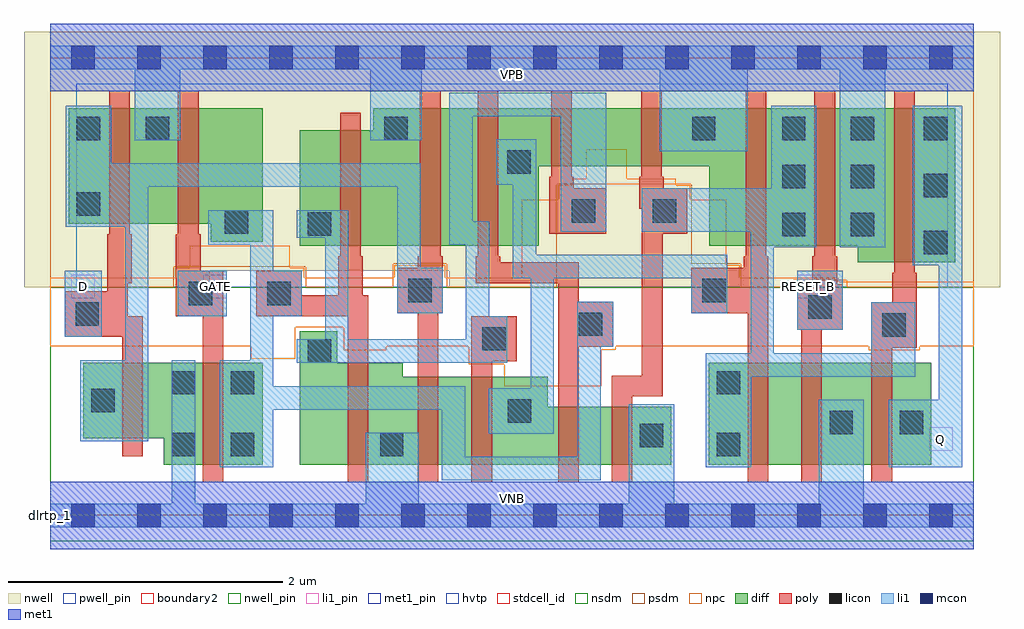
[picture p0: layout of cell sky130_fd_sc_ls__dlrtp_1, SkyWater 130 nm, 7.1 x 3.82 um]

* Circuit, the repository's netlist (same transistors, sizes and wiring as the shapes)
* Copyright 2020 The SkyWater PDK Authors
*
* Licensed under the Apache License, Version 2.0 (the "License");
* you may not use this file except in compliance with the License.
* You may obtain a copy of the License at
*
*     https://www.apache.org/licenses/LICENSE-2.0
*
* Unless required by applicable law or agreed to in writing, software
* distributed under the License is distributed on an "AS IS" BASIS,
* WITHOUT WARRANTIES OR CONDITIONS OF ANY KIND, either express or implied.
* See the License for the specific language governing permissions and
* limitations under the License.
*
* SPDX-License-Identifier: Apache-2.0

.SUBCKT sky130_fd_sc_ls__dlrtp_1 D GATE RESET_B VGND VNB VPB VPWR Q
*.PININFO D:I GATE:I RESET_B:I VGND:I VNB:I VPB:I VPWR:I Q:O
MI635 clkpos clkneg VPWR VPB sky130_fd_pr__pfet_01v8_hvt m=1 w=0.84U l=0.15U mult=1
+ sa=0.265 sb=0.265 sd=0.28 area=0.063 perim=1.14
MI17 M0 clkneg net54 VPB sky130_fd_pr__pfet_01v8_hvt m=1 w=1.0U l=0.15U mult=1
+ sa=0.265 sb=0.265 sd=0.28 area=0.063 perim=1.14
MI650 Q m1 VPWR VPB sky130_fd_pr__pfet_01v8_hvt m=1 w=1.12U l=0.15U mult=1 sa=0.265
+ sb=0.265 sd=0.28 area=0.063 perim=1.14
MI633 clkneg GATE VPWR VPB sky130_fd_pr__pfet_01v8_hvt m=1 w=0.84U l=0.15U mult=1
+ sa=0.265 sb=0.265 sd=0.28 area=0.063 perim=1.14
MI658 m1 RESET_B VPWR VPB sky130_fd_pr__pfet_01v8_hvt m=1 w=1.0U l=0.15U mult=1
+ sa=0.265 sb=0.265 sd=0.28 area=0.063 perim=1.14
MI18 net54 db VPWR VPB sky130_fd_pr__pfet_01v8_hvt m=1 w=1.0U l=0.15U mult=1 sa=0.265
+ sb=0.265 sd=0.28 area=0.063 perim=1.14
MI653 net50 m1 VPWR VPB sky130_fd_pr__pfet_01v8_hvt m=1 w=0.42U l=0.15U mult=1
+ sa=0.265 sb=0.265 sd=0.28 area=0.063 perim=1.14
MI651 M0 clkpos net50 VPB sky130_fd_pr__pfet_01v8_hvt m=1 w=0.42U l=0.15U mult=1
+ sa=0.265 sb=0.265 sd=0.28 area=0.063 perim=1.14
MI655 m1 M0 VPWR VPB sky130_fd_pr__pfet_01v8_hvt m=1 w=1.0U l=0.15U mult=1 sa=0.265
+ sb=0.265 sd=0.28 area=0.063 perim=1.14
MI638 db D VPWR VPB sky130_fd_pr__pfet_01v8_hvt m=1 w=0.84U l=0.15U mult=1 sa=0.265
+ sb=0.265 sd=0.28 area=0.063 perim=1.14
MI634 clkneg GATE VGND VNB sky130_fd_pr__nfet_01v8 m=1 w=0.74U l=0.15U mult=1 sa=0.265
+ sb=0.265 sd=0.28 area=0.063 perim=1.14
MI649 Q m1 VGND VNB sky130_fd_pr__nfet_01v8 m=1 w=0.74U l=0.15U mult=1 sa=0.265
+ sb=0.265 sd=0.28 area=0.063 perim=1.14
MI657 net93 RESET_B VGND VNB sky130_fd_pr__nfet_01v8 m=1 w=0.74U l=0.15U mult=1
+ sa=0.265 sb=0.265 sd=0.28 area=0.063 perim=1.14
MI652 M0 clkneg net101 VNB sky130_fd_pr__nfet_01v8 m=1 w=0.42U l=0.15U mult=1 sa=0.265
+ sb=0.265 sd=0.28 area=0.063 perim=1.14
MI654 net101 m1 VGND VNB sky130_fd_pr__nfet_01v8 m=1 w=0.42U l=0.15U mult=1 sa=0.265
+ sb=0.265 sd=0.28 area=0.063 perim=1.14
MI656 m1 M0 net93 VNB sky130_fd_pr__nfet_01v8 m=1 w=0.74U l=0.15U mult=1 sa=0.265
+ sb=0.265 sd=0.28 area=0.063 perim=1.14
MI636 clkpos clkneg VGND VNB sky130_fd_pr__nfet_01v8 m=1 w=0.74U l=0.15U mult=1
+ sa=0.265 sb=0.265 sd=0.28 area=0.063 perim=1.14
MI637 db D VGND VNB sky130_fd_pr__nfet_01v8 m=1 w=0.55U l=0.15U mult=1 sa=0.265
+ sb=0.265 sd=0.28 area=0.063 perim=1.14
MI19 M0 clkpos net81 VNB sky130_fd_pr__nfet_01v8 m=1 w=0.64U l=0.15U mult=1 sa=0.265
+ sb=0.265 sd=0.28 area=0.063 perim=1.14
MI20 net81 db VGND VNB sky130_fd_pr__nfet_01v8 m=1 w=0.64U l=0.15U mult=1 sa=0.265
+ sb=0.265 sd=0.28 area=0.063 perim=1.14
.ENDS sky130_fd_sc_ls__dlrtp_1

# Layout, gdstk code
import gdstk
lib = gdstk.Library(unit=1e-6, precision=1e-09)
def R(c, l, rs):  # rectangles x0, y0, x1, y1
    for r in rs: c.add(gdstk.rectangle(r[:2], r[2:], *l))
def A(c, l, x, y, w, h, nx, ny, dx, dy):  # array of equal rectangles
    R(c, l, [(x+i*dx, y+j*dy, x+i*dx+w, y+j*dy+h) for i in range(nx) for j in range(ny)])
def P(c, l, *ps):  # polygons
    for p in ps: c.add(gdstk.Polygon(p, *l))
nwell_pin = (64, 16)
nwell = (64, 20)
diff = (65, 20)
poly = (66, 20)
licon = (66, 44)
li1_pin = (67, 16)
li1 = (67, 20)
mcon = (67, 44)
met1_pin = (68, 16)
met1 = (68, 20)
hvtp = (78, 44)
stdcell_id = (81, 4)
nsdm = (93, 44)
psdm = (94, 20)
npc = (95, 20)
pwell_pin = (122, 16)
boundary2 = (236, 0)

sky130_fd_sc_ls__dlrtp_1 = lib.new_cell('sky130_fd_sc_ls__dlrtp_1')
R(sky130_fd_sc_ls__dlrtp_1, nwell_pin, [(0,3.085,6.72,3.33)])
P(sky130_fd_sc_ls__dlrtp_1, nwell, [(6.91,3.52),(-0.19,3.52),(-0.19,1.66),(1.16,1.66),(1.16,1.78),(2.905,1.78),(2.905,1.66),(6.91,1.66)])
R(sky130_fd_sc_ls__dlrtp_1, diff, [(4.79,0.37,6.41,1.11)])
P(sky130_fd_sc_ls__dlrtp_1, diff, [(1.545,2.96),(0.135,2.96),(0.135,2.12),(1.17,2.12),(1.17,1.99),(1.545,1.99)],
  [(1.545,1.11),(0.24,1.11),(0.24,0.56),(0.825,0.56),(0.825,0.37),(1.545,0.37)],
  [(4.52,0.79),(3.62,0.79),(3.62,1.01),(2.565,1.01),(2.565,1.11),(2.09,1.11),(2.09,1.34),(1.815,1.34),(1.815,0.37),(4.52,0.37)],
  [(6.585,2.96),(2.35,2.96),(2.35,2.8),(1.815,2.8),(1.815,1.96),(3.555,1.96),(3.555,2.54),(4.795,2.54),(4.795,1.96),(5.875,1.96),(5.875,1.84),(6.585,1.84)])
P(sky130_fd_sc_ls__dlrtp_1, poly, [(6.305,1.765),(6.29,1.765),(6.29,3.09),(6.14,3.09),(6.14,1.765),(6.125,1.765),(6.125,1.55),(5.975,1.55),(5.975,0.24),(6.125,0.24),(6.125,1.22),(6.305,1.22)],
  [(5.765,1.68),(5.725,1.68),(5.725,1.885),(5.71,1.885),(5.71,3.09),(5.56,3.09),(5.56,1.885),(5.545,1.885),(5.545,1.68),(5.435,1.68),(5.435,1.35),(5.465,1.35),(5.465,0.24),(5.615,0.24),(5.615,1.35),(5.765,1.35)],
  [(5.225,1.885),(5.21,1.885),(5.21,3.09),(5.06,3.09),(5.06,1.885),(5.045,1.885),(5.045,1.8),(4.665,1.8),(4.665,1.47),(5.075,1.47),(5.075,0.24),(5.225,0.24)],
  [(4.635,2.38),(4.465,2.38),(4.465,2.465),(4.45,2.465),(4.45,3.09),(4.3,3.09),(4.3,2.465),(4.285,2.465),(4.285,2.23),(4.305,2.23),(4.305,1.015),(4.085,1.015),(4.085,0.24),(4.235,0.24),(4.235,0.865),(4.455,0.865),(4.455,2.05),(4.635,2.05)],
  [(4.095,1.555),(3.845,1.555),(3.845,1.84),(3.275,1.84),(3.275,1.885),(3.26,1.885),(3.26,3.09),(3.11,3.09),(3.11,1.885),(3.095,1.885),(3.095,1.69),(3.695,1.69),(3.695,0.24),(3.845,0.24),(3.845,1.225),(4.095,1.225)],
  [(4.045,2.38),(3.81,2.38),(3.81,2.465),(3.795,2.465),(3.795,3.09),(3.645,3.09),(3.645,2.465),(3.63,2.465),(3.63,2.05),(4.045,2.05)],
  [(3.395,1.45),(3.065,1.45),(3.065,0.24),(3.215,0.24),(3.215,1.12),(3.395,1.12)],
  [(2.855,1.885),(2.84,1.885),(2.84,3.09),(2.69,3.09),(2.69,1.885),(2.675,1.885),(2.675,1.8),(2.525,1.8),(2.525,1.47),(2.675,1.47),(2.675,0.24),(2.825,0.24),(2.825,1.47),(2.855,1.47)],
  [(2.315,1.6),(2.275,1.6),(2.275,1.885),(2.26,1.885),(2.26,2.93),(2.11,2.93),(2.11,1.885),(2.095,1.885),(2.095,1.6),(1.83,1.6),(1.83,1.78),(1.5,1.78),(1.5,1.45),(2.165,1.45),(2.165,0.24),(2.315,0.24)],
  [(1.26,1.78),(1.095,1.78),(1.095,2.045),(1.08,2.045),(1.08,3.09),(0.93,3.09),(0.93,2.045),(0.915,2.045),(0.915,1.45),(1.11,1.45),(1.11,0.24),(1.26,0.24)],
  [(0.675,1.45),(0.565,1.45),(0.565,1.69),(0.595,1.69),(0.595,2.045),(0.58,2.045),(0.58,3.09),(0.43,3.09),(0.43,2.045),(0.415,2.045),(0.415,1.63),(0.105,1.63),(0.105,1.3),(0.525,1.3),(0.525,0.43),(0.675,0.43)])
A(sky130_fd_sc_ls__dlrtp_1, licon, 6.355, 1.9, 0.17, 0.17, 1, 3, 0, 0.415)
A(sky130_fd_sc_ls__dlrtp_1, licon, 5.325, 2.03, 0.17, 0.17, 1, 3, 0, 0.35)
A(sky130_fd_sc_ls__dlrtp_1, licon, 5.825, 2.03, 0.17, 0.17, 1, 3, 0, 0.35)
R(sky130_fd_sc_ls__dlrtp_1, licon, [(0.885,0.43,1.055,0.6), (1.315,0.43,1.485,0.6), (2.4,0.43,2.57,0.6), (4.85,0.43,5.02,0.6), (4.29,0.495,4.46,0.665), (5.67,0.59,5.84,0.76), (6.18,0.59,6.35,0.76), (3.33,0.675,3.5,0.845), (0.3,0.75,0.47,0.92), (0.885,0.88,1.055,1.05), (1.315,0.88,1.485,1.05), (4.85,0.88,5.02,1.05), (1.875,1.11,2.045,1.28), (3.145,1.2,3.315,1.37), (6.055,1.3,6.225,1.47), (3.845,1.305,4.015,1.475), (0.185,1.38,0.355,1.55), (5.515,1.43,5.685,1.6), (1.01,1.53,1.18,1.7), (1.58,1.53,1.75,1.7), (2.605,1.55,2.775,1.72), (4.745,1.55,4.915,1.72), (1.875,2.035,2.045,2.205), (1.27,2.05,1.44,2.22), (3.795,2.13,3.965,2.3), (4.385,2.13,4.555,2.3), (0.195,2.18,0.365,2.35), (3.325,2.485,3.495,2.655), (0.195,2.73,0.365,2.9), (0.695,2.73,0.865,2.9), (2.43,2.73,2.6,2.9), (4.67,2.73,4.84,2.9)])
R(sky130_fd_sc_ls__dlrtp_1, li1_pin, [(6.395,0.47,6.565,0.64), (0.155,1.58,0.325,1.75), (1.115,1.58,1.285,1.75), (5.435,1.58,5.605,1.75)])
R(sky130_fd_sc_ls__dlrtp_1, li1, [(0.105,1.3,0.375,1.78), (5.435,1.35,5.765,1.78), (0.93,1.45,1.285,1.78)])
P(sky130_fd_sc_ls__dlrtp_1, li1, [(0,-0.085),(0,0.085),(0.885,0.085),(0.885,1.13),(1.055,1.13),(1.055,0.085),(2.295,0.085),(2.295,0.6),(2.68,0.6),(2.68,0.085),(4.21,0.085),(4.21,0.81),(4.54,0.81),(4.54,0.085),(5.59,0.085),(5.59,0.84),(5.92,0.84),(5.92,0.085),(6.72,0.085),(6.72,-0.085)],
  [(0,3.245),(0,3.415),(6.72,3.415),(6.72,3.245),(6.075,3.245),(6.075,1.95),(5.745,1.95),(5.745,3.245),(5.075,3.245),(5.075,2.65),(4.435,2.65),(4.435,3.245),(2.705,3.245),(2.705,2.73),(2.33,2.73),(2.33,3.245),(0.945,3.245),(0.945,2.73),(0.615,2.73),(0.615,3.245)],
  [(6.1,0.35),(6.1,0.84),(6.465,0.84),(6.465,1.82),(6.275,1.82),(6.275,2.98),(6.635,2.98),(6.635,0.35)],
  [(5.265,1.95),(5.265,1.18),(5.975,1.18),(5.975,1.55),(6.295,1.55),(6.295,1.01),(5.1,1.01),(5.1,0.35),(4.77,0.35),(4.77,1.18),(5.095,1.18),(5.095,2.065),(4.305,2.065),(4.305,2.38),(5.245,2.38),(5.245,2.98),(5.575,2.98),(5.575,1.95)],
  [(0.545,1.13),(0.545,2.1),(0.115,2.1),(0.115,2.98),(0.445,2.98),(0.445,2.56),(2.695,2.56),(2.695,1.8),(2.855,1.8),(2.855,1.47),(2.525,1.47),(2.525,2.39),(0.715,2.39),(0.715,0.54),(0.22,0.54),(0.22,1.13)],
  [(1.235,0.35),(1.235,1.13),(1.455,1.13),(1.455,1.97),(1.15,1.97),(1.15,2.22),(1.625,2.22),(1.625,1.78),(1.83,1.78),(1.83,1.45),(1.625,1.45),(1.625,0.94),(3.02,0.94),(3.02,0.425),(3.835,0.425),(3.835,1.555),(4.095,1.555),(4.095,1.225),(4.005,1.225),(4.005,0.255),(2.85,0.255),(2.85,0.77),(1.625,0.77),(1.625,0.35)],
  [(3.365,1.725),(3.365,2.405),(3.245,2.405),(3.245,2.735),(3.535,2.735),(3.535,1.895),(4.925,1.895),(4.925,1.47),(4.665,1.47),(4.665,1.725),(3.665,1.725),(3.665,0.595),(3.19,0.595),(3.19,0.925),(3.495,0.925),(3.495,1.725)],
  [(1.795,1.11),(1.795,1.28),(2,1.28),(2,2.02),(1.795,2.02),(1.795,2.22),(2.17,2.22),(2.17,1.28),(3.025,1.28),(3.025,1.97),(2.905,1.97),(2.905,3.075),(4.045,3.075),(4.045,2.065),(3.715,2.065),(3.715,2.905),(3.075,2.905),(3.075,2.14),(3.195,2.14),(3.195,1.45),(3.325,1.45),(3.325,1.11)])
A(sky130_fd_sc_ls__dlrtp_1, mcon, 0.155, -0.085, 0.17, 0.17, 14, 2, 0.48, 3.33)
R(sky130_fd_sc_ls__dlrtp_1, met1_pin, [(0,0,6.72,0.245), (0,3.085,6.72,3.33)])
R(sky130_fd_sc_ls__dlrtp_1, met1, [(0,-0.245,6.72,0.245), (0,3.085,6.72,3.575)])
R(sky130_fd_sc_ls__dlrtp_1, hvtp, [(0.19,1.66,6.53,3.14)])
R(sky130_fd_sc_ls__dlrtp_1, stdcell_id, [(0,0,6.72,3.33)])
R(sky130_fd_sc_ls__dlrtp_1, nsdm, [(0,-0.19,6.72,1.66)])
P(sky130_fd_sc_ls__dlrtp_1, psdm, [(6.72,3.52),(0,3.52),(0,1.66),(0.9,1.66),(0.9,1.81),(1.86,1.81),(1.86,1.66),(2.495,1.66),(2.495,1.83),(2.885,1.83),(2.885,1.66),(3.685,1.66),(3.685,2.41),(4.665,2.41),(4.665,1.83),(5.025,1.83),(5.025,1.66),(5.405,1.66),(5.405,1.71),(5.795,1.71),(5.795,1.66),(6.72,1.66)])
P(sky130_fd_sc_ls__dlrtp_1, npc, [(6.72,1.7),(5.735,1.7),(5.735,1.73),(5.015,1.73),(5.015,1.82),(4.92,1.82),(4.92,2.295),(4.655,2.295),(4.655,2.4),(4.55,2.4),(4.55,2.45),(4.195,2.45),(4.195,2.665),(3.9,2.665),(3.9,2.45),(3.8,2.45),(3.8,2.4),(3.695,2.4),(3.695,2.295),(3.43,2.295),(3.43,1.73),(2.875,1.73),(2.875,1.82),(2.505,1.82),(2.505,1.73),(1.85,1.73),(1.85,1.8),(1.745,1.8),(1.745,1.96),(1.015,1.96),(1.015,1.8),(0.91,1.8),(0.91,1.73),(0,1.73),(0,1.23),(1.46,1.23),(1.46,1.14),(1.785,1.14),(1.785,1.37),(2.135,1.37),(2.135,1.2),(2.445,1.2),(2.445,1.23),(3.045,1.23),(3.045,1.1),(3.305,1.1),(3.305,0.94),(4.01,0.94),(4.01,1.205),(4.115,1.205),(4.115,1.23),(5.955,1.23),(5.955,1.2),(6.325,1.2),(6.325,1.23),(6.72,1.23)])
R(sky130_fd_sc_ls__dlrtp_1, pwell_pin, [(0,0,6.72,0.245)])
R(sky130_fd_sc_ls__dlrtp_1, boundary2, [(0,0,6.72,3.33)])
sky130_fd_sc_ls__dlrtp_1.add(gdstk.Label('dlrtp_1', (0,0), layer=83, texttype=44))
sky130_fd_sc_ls__dlrtp_1.add(gdstk.Label('VNB', (3.36,0.123), layer=64, texttype=59))
sky130_fd_sc_ls__dlrtp_1.add(gdstk.Label('VPB', (3.36,3.208), layer=64, texttype=5))
sky130_fd_sc_ls__dlrtp_1.add(gdstk.Label('VPWR', (3.36,3.208), layer=68, texttype=5))
sky130_fd_sc_ls__dlrtp_1.add(gdstk.Label('VGND', (3.36,0.123), layer=68, texttype=5))
sky130_fd_sc_ls__dlrtp_1.add(gdstk.Label('Q', (6.48,0.555), layer=67, texttype=5))
sky130_fd_sc_ls__dlrtp_1.add(gdstk.Label('GATE', (1.2,1.665), layer=67, texttype=5))
sky130_fd_sc_ls__dlrtp_1.add(gdstk.Label('RESET_B', (5.52,1.665), layer=67, texttype=5))
sky130_fd_sc_ls__dlrtp_1.add(gdstk.Label('D', (0.24,1.665), layer=67, texttype=5))

lib.write_gds('sky130_fd_sc_ls__dlrtp_1.gds')
